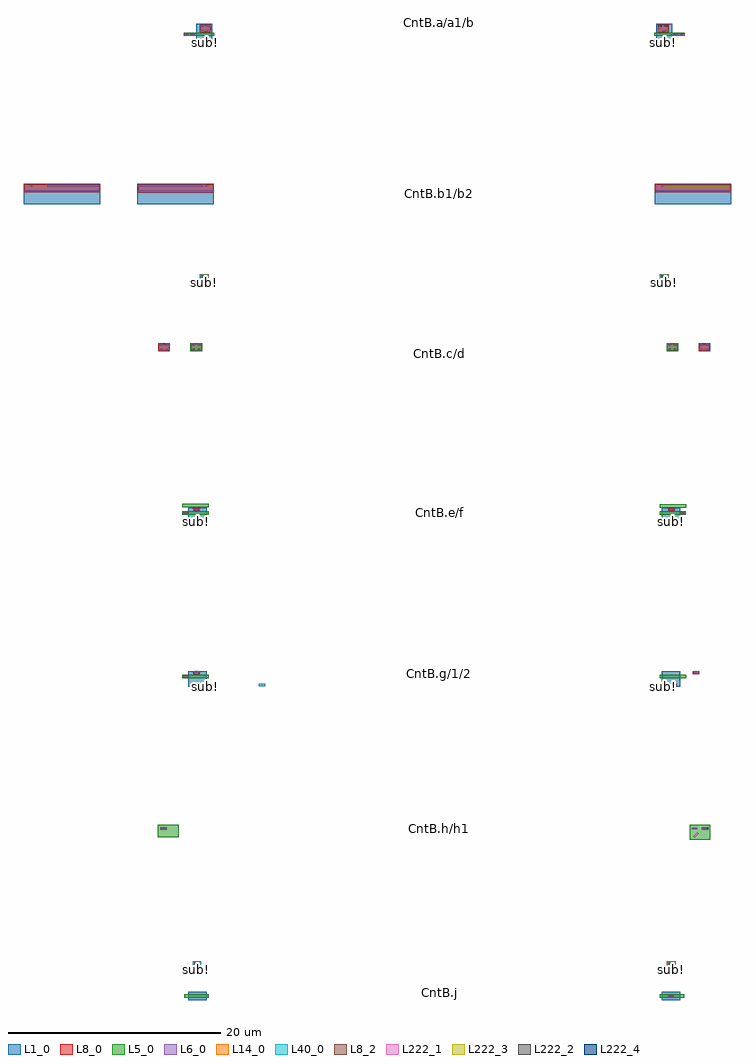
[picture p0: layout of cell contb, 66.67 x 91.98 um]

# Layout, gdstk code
import gdstk
lib = gdstk.Library(unit=1e-6, precision=1e-09)
def R(c, l, rs):  # rectangles x0, y0, x1, y1
    for r in rs: c.add(gdstk.rectangle(r[:2], r[2:], *l))
def P(c, l, *ps):  # polygons
    for p in ps: c.add(gdstk.Polygon(p, *l))
L1_0 = (1, 0)
L5_0 = (5, 0)
L6_0 = (6, 0)
L8_0 = (8, 0)
L8_2 = (8, 2)
L14_0 = (14, 0)
L40_0 = (40, 0)
L222_1 = (222, 1)
L222_2 = (222, 2)
L222_3 = (222, 3)
L222_4 = (222, 4)

contb = lib.new_cell('contb')
R(contb, L1_0, [(-23.725,-98.34,-21.99,-97.58), (20.915,-98.34,22.65,-97.58), (-23.285,-95.475,-22.505,-94.695), (21.43,-95.475,22.21,-94.695), (-23.725,-68.805,-21.99,-67.355), (20.915,-68.805,22.65,-67.355), (-23.725,-53.4,-21.99,-51.95), (20.915,-53.4,22.65,-51.95), (-26.545,-37.195,-25.445,-36.455), (24.38,-37.195,25.47,-36.465), (-22.595,-30.745,-21.815,-29.965), (20.74,-30.745,21.52,-29.965), (-39.22,-23.335,-32,-21.395), (-28.505,-23.335,-21.31,-21.395), (20.235,-23.335,27.455,-21.395), (-22.98,-8.295,-21.46,-6.355), (20.385,-8.295,21.905,-6.355)])
R(contb, L5_0, [(-24.095,-98.11,-21.81,-97.81), (20.735,-98.11,23.02,-97.81), (23.56,-83.225,25.495,-81.82), (-26.57,-83.015,-24.635,-81.82), (-24.275,-67.995,-21.81,-67.695), (20.735,-67.995,23.2,-67.695), (-24.275,-52.59,-21.81,-52.29), (20.735,-52.59,23.18,-52.29), (20.735,-51.94,23.2,-51.64), (-24.275,-51.88,-21.81,-51.58), (-23.52,-37.195,-22.42,-36.455), (21.355,-37.195,22.445,-36.465), (-24.15,-7.485,-21.28,-7.185), (20.205,-7.485,23.075,-7.185)])
R(contb, L6_0, [(21.52,-98.04,22.02,-97.88), (-23.145,-95.335,-22.985,-95.175), (-22.805,-95.335,-22.645,-95.175), (21.57,-95.335,21.73,-95.175), (21.91,-95.335,22.07,-95.175), (-23.145,-94.995,-22.985,-94.835), (-22.805,-94.995,-22.645,-94.835), (21.57,-94.995,21.73,-94.835), (21.91,-94.995,22.07,-94.835), (-26.315,-82.255,-25.815,-82.095), (23.755,-82.255,24.255,-82.095), (24.74,-82.255,25.24,-82.095), (-23.34,-68.735,-22.84,-68.575), (-22.56,-68.735,-22.06,-68.575), (20.985,-68.735,21.485,-68.575), (21.775,-68.735,22.275,-68.575), (-24.205,-67.925,-23.865,-67.765), (-23.195,-67.585,-22.695,-67.425), (23.9,-67.585,24.4,-67.425), (-22.995,-53.23,-22.835,-53.07), (21.76,-53.23,21.92,-53.07), (-24.205,-52.52,-23.865,-52.36), (22.77,-52.52,23.11,-52.36), (21.57,-52.2,22.07,-52.04), (-23.195,-52.18,-22.695,-52.02), (-26.475,-37.125,-26.135,-36.965), (-25.855,-37.125,-25.515,-36.965), (-23.45,-37.125,-23.11,-36.965), (-22.83,-37.125,-22.49,-36.965), (21.415,-37.125,21.755,-36.965), (22.035,-37.125,22.375,-36.965), (24.44,-37.125,24.78,-36.965), (25.06,-37.125,25.4,-36.965), (-26.475,-36.685,-26.135,-36.525), (-25.855,-36.685,-25.515,-36.525), (-23.45,-36.685,-23.11,-36.525), (-22.83,-36.685,-22.49,-36.525), (21.415,-36.685,21.755,-36.525), (22.035,-36.685,22.375,-36.525), (24.44,-36.685,24.78,-36.525), (25.06,-36.685,25.4,-36.525), (-22.455,-30.605,-22.295,-30.445), (-22.115,-30.605,-21.955,-30.445), (20.88,-30.605,21.04,-30.445), (21.22,-30.605,21.38,-30.445), (-22.455,-30.265,-22.295,-30.105), (-22.115,-30.265,-21.955,-30.105), (20.88,-30.265,21.04,-30.105), (21.22,-30.265,21.38,-30.105), (-28.435,-22.195,-21.38,-22.035), (-39.15,-22.17,-32.07,-22.01), (20.305,-22.17,27.385,-22.01), (-38.56,-21.675,-38.4,-21.515), (-37.01,-21.675,-32.07,-21.515), (-28.435,-21.675,-22.33,-21.515), (-22.11,-21.675,-21.95,-21.515), (20.895,-21.675,21.055,-21.515), (21.255,-21.675,27.385,-21.515), (-22.25,-8.145,-22.09,-7.985), (21.015,-8.145,21.175,-7.985), (-24.08,-7.415,-23.74,-7.255), (-23.46,-7.415,-23.12,-7.255), (22.075,-7.415,22.415,-7.255), (22.665,-7.415,23.005,-7.255), (-22.6,-7.075,-22.26,-6.915), (-21.98,-7.075,-21.64,-6.915), (20.565,-7.075,20.905,-6.885), (21.185,-7.075,21.525,-6.915), (-22.6,-6.635,-22.26,-6.475), (-21.98,-6.635,-21.64,-6.475), (20.585,-6.635,20.905,-6.495), (21.185,-6.635,21.49,-6.475)])
P(contb, L6_0, [(24,-83.04),(23.88,-82.92),(24.26,-82.54),(24.38,-82.66)])
R(contb, L8_0, [(21.47,-98.09,22.07,-97.83), (-23.145,-95.42,-22.645,-94.765), (21.57,-95.395,22.07,-94.77), (-23.145,-95.385,-22.645,-94.785), (21.57,-95.385,22.07,-94.785), (-26.365,-82.305,-25.765,-82.045), (24.69,-82.305,25.28,-82.055), (-23.39,-68.785,-22.01,-68.525), (20.935,-68.785,22.325,-68.525), (-24.255,-67.975,-23.705,-67.715), (-23.245,-67.635,-22.645,-67.375), (23.85,-67.635,24.45,-67.375), (-23.145,-53.32,-22.655,-53.03), (21.58,-53.32,22.07,-53.03), (-24.255,-52.57,-23.705,-52.31), (22.63,-52.57,23.16,-52.31), (21.52,-52.25,22.12,-51.99), (-23.245,-52.23,-22.645,-51.97), (-26.525,-37.175,-25.465,-36.475), (-23.5,-37.175,-22.44,-36.475), (21.365,-37.175,22.425,-36.475), (24.39,-37.175,25.45,-36.475), (-22.455,-30.675,-21.955,-30.02), (-22.455,-30.655,-21.955,-30.055), (20.88,-30.655,21.38,-30.055), (20.88,-30.655,21.38,-30.05), (-28.485,-22.245,-21.33,-21.465), (-39.2,-22.22,-32.02,-21.465), (20.255,-22.22,27.435,-21.465), (-22.4,-8.215,-21.91,-7.925), (20.835,-8.215,21.325,-7.925), (-24.13,-7.465,-23.07,-7.205), (21.995,-7.465,23.055,-7.205), (-22.65,-7.125,-21.59,-6.425), (20.515,-7.125,21.575,-6.425)])
R(contb, L8_2, [(-23.145,-95.335,-22.645,-94.835), (21.57,-95.335,22.07,-94.835), (-22.455,-30.605,-21.955,-30.105), (20.88,-30.605,21.38,-30.105)])
R(contb, L14_0, [(-23.315,-95.505,-22.475,-94.665), (21.4,-95.505,22.24,-94.665), (-22.75,-68.96,-21.74,-68.48), (20.665,-68.96,21.695,-68.495), (-23.295,-53.46,-22.515,-52.98), (21.44,-53.46,22.22,-52.98), (-22.625,-30.775,-21.785,-29.935), (20.71,-30.775,21.55,-29.935), (-22.55,-8.355,-21.77,-7.895), (20.695,-8.355,21.475,-7.895)])
R(contb, L40_0, [(-23.285,-95.475,-22.505,-94.695), (21.43,-95.475,22.21,-94.695), (-17.075,-68.785,-16.475,-68.525), (-22.595,-30.745,-21.815,-29.965), (20.74,-30.745,21.52,-29.965)])
R(contb, L222_1, [(20.565,-7.075,20.905,-6.885), (20.585,-6.64,20.905,-6.63), (20.585,-6.5,20.905,-6.49)])
P(contb, L222_1, [(24,-83.04),(23.88,-82.92),(24.26,-82.54),(24.38,-82.66)])
R(contb, L222_2, [(20.585,-6.635,20.905,-6.495), (21.185,-6.635,21.49,-6.475)])
R(contb, L222_3, [(21.123,-22.015,27.385,-22.005), (21.255,-21.68,27.385,-21.67)])
R(contb, L222_4, [(25.275,-82.285,25.285,-82.065), (25.235,-82.255,25.245,-82.095), (24.74,-82.1,25.24,-82.09), (24.71,-82.06,25.27,-82.05)])
contb.add(gdstk.Label('sub!', (21.13,-30.735), layer=63, texttype=0))
contb.add(gdstk.Label('sub!', (-22.205,-30.735), layer=63, texttype=0))
contb.add(gdstk.Label('sub!', (-22.895,-95.465), layer=63, texttype=0))
contb.add(gdstk.Label('sub!', (21.82,-95.465), layer=63, texttype=0))
contb.add(gdstk.Label('CntB.c/d', (0,-37.385), layer=63, texttype=0))
contb.add(gdstk.Label('CntB.b1/b2', (0,-22.3), layer=63, texttype=0))
contb.add(gdstk.Label('CntB.a/a1/b', (0,-6.205), layer=63, texttype=0))
contb.add(gdstk.Label('sub!', (-22.14,-8.145), layer=63, texttype=0))
contb.add(gdstk.Label('sub!', (-22.13,-68.76), layer=63, texttype=0))
contb.add(gdstk.Label('sub!', (-22.905,-53.26), layer=63, texttype=0))
contb.add(gdstk.Label('CntB.e/f', (0,-52.42), layer=63, texttype=0))
contb.add(gdstk.Label('CntB.g/1/2', (0,-67.565), layer=63, texttype=0))
contb.add(gdstk.Label('CntB.j', (0,-97.6), layer=63, texttype=0))
contb.add(gdstk.Label('sub!', (21.055,-68.76), layer=63, texttype=0))
contb.add(gdstk.Label('sub!', (21.83,-53.26), layer=63, texttype=0))
contb.add(gdstk.Label('sub!', (21.065,-8.145), layer=63, texttype=0))
contb.add(gdstk.Label('PASS', (-12,5), layer=63, texttype=0))
contb.add(gdstk.Label('FAIL', (12,5), layer=63, texttype=0))
contb.add(gdstk.Label('CntB.h/h1', (0,-82.16), layer=63, texttype=0))
contb.add(gdstk.Label('5.15 ContBar', (0,21), layer=63, texttype=0))

lib.write_gds('contb.gds')
